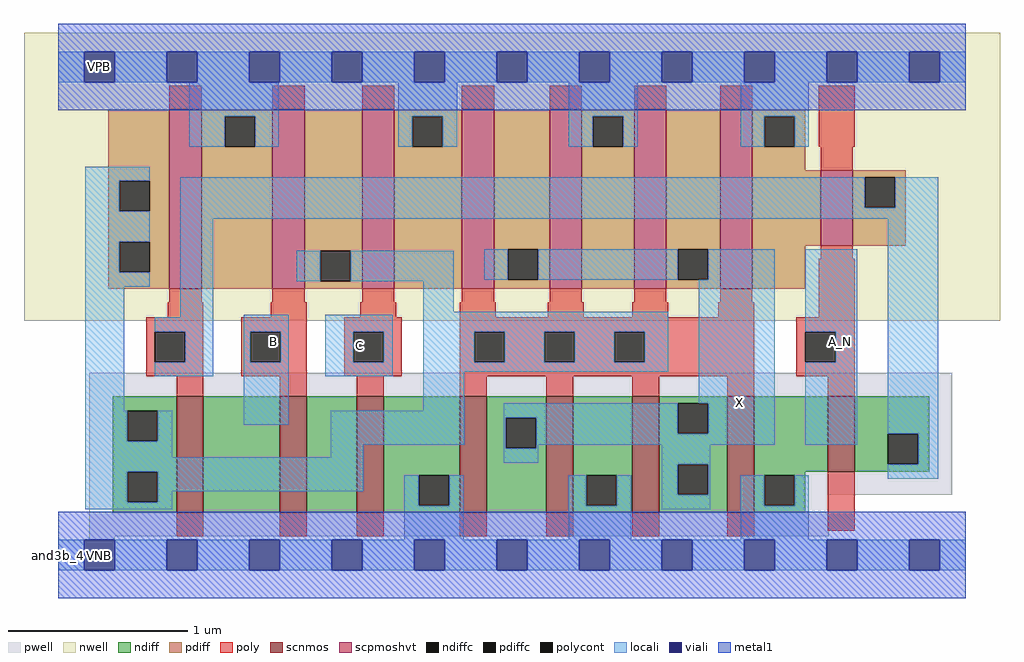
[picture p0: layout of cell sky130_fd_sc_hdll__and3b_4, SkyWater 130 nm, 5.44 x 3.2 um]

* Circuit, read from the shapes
.subckt sky130_fd_sc_hdll__and3b_4 A_N B C VGND VNB VPB VPWR X
XM1 n1 n2 n3 VNB sky130_fd_pr__nfet_01v8 w=0.65 l=0.15
XM2 n4 B n1 VNB sky130_fd_pr__nfet_01v8 w=0.65 l=0.15
XM3 VGND C n4 VNB sky130_fd_pr__nfet_01v8 w=0.65 l=0.15
XM4 X n3 VGND VNB sky130_fd_pr__nfet_01v8 w=0.65 l=0.15 m=4
XM5 n2 A_N VGND VNB sky130_fd_pr__nfet_01v8 w=0.42 l=0.15
XM6 VPWR n2 n3 VPB sky130_fd_pr__pfet_01v8_hvt w=1 l=0.18
XM7 n3 B VPWR VPB sky130_fd_pr__pfet_01v8_hvt w=1 l=0.18
XM8 VPWR C n3 VPB sky130_fd_pr__pfet_01v8_hvt w=1 l=0.18
XM9 X n3 VPWR VPB sky130_fd_pr__pfet_01v8_hvt w=1 l=0.18 m=4
XM10 n2 A_N VPWR VPB sky130_fd_pr__pfet_01v8_hvt w=0.42 l=0.18
.ends

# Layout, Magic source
magic
tech sky130A
magscale 1 2
<< nwell >>
rect -38 261 1050 582
<< pwell >>
rect 35 67 997 203
rect 35 21 859 67
rect 35 17 63 21
rect 29 -17 63 17
<< scnmos >>
rect 132 47 162 177
rect 247 47 277 177
rect 333 47 363 177
rect 448 47 478 177
rect 544 47 574 177
rect 640 47 670 177
rect 746 47 776 177
rect 858 93 888 177
<< scpmoshvt >>
rect 124 297 160 497
rect 239 297 275 497
rect 339 297 375 497
rect 450 297 486 497
rect 548 297 584 497
rect 642 297 678 497
rect 738 297 774 497
rect 850 345 886 429
<< ndiff >>
rect 61 161 132 177
rect 61 127 77 161
rect 111 127 132 161
rect 61 93 132 127
rect 61 59 77 93
rect 111 59 132 93
rect 61 47 132 59
rect 162 47 247 177
rect 277 47 333 177
rect 363 89 448 177
rect 363 55 402 89
rect 436 55 448 89
rect 363 47 448 55
rect 478 153 544 177
rect 478 119 499 153
rect 533 119 544 153
rect 478 47 544 119
rect 574 89 640 177
rect 574 55 589 89
rect 623 55 640 89
rect 574 47 640 55
rect 670 169 746 177
rect 670 135 691 169
rect 725 135 746 169
rect 670 101 746 135
rect 670 67 691 101
rect 725 67 746 101
rect 670 47 746 67
rect 776 93 858 177
rect 888 135 971 177
rect 888 101 925 135
rect 959 101 971 135
rect 888 93 971 101
rect 776 89 833 93
rect 776 55 787 89
rect 821 55 833 89
rect 776 47 833 55
<< pdiff >>
rect 56 417 124 497
rect 56 383 68 417
rect 102 383 124 417
rect 56 349 124 383
rect 56 315 68 349
rect 102 315 124 349
rect 56 297 124 315
rect 160 489 239 497
rect 160 455 186 489
rect 220 455 239 489
rect 160 297 239 455
rect 275 339 339 497
rect 275 305 292 339
rect 326 305 339 339
rect 275 297 339 305
rect 375 489 450 497
rect 375 455 395 489
rect 429 455 450 489
rect 375 297 450 455
rect 486 341 548 497
rect 486 307 501 341
rect 535 307 548 341
rect 486 297 548 307
rect 584 489 642 497
rect 584 455 596 489
rect 630 455 642 489
rect 584 297 642 455
rect 678 341 738 497
rect 678 307 691 341
rect 725 307 738 341
rect 678 297 738 307
rect 774 489 833 497
rect 774 455 787 489
rect 821 455 833 489
rect 774 429 833 455
rect 774 345 850 429
rect 886 421 945 429
rect 886 387 899 421
rect 933 387 945 421
rect 886 345 945 387
rect 774 297 833 345
<< ndiffc >>
rect 77 127 111 161
rect 77 59 111 93
rect 402 55 436 89
rect 499 119 533 153
rect 589 55 623 89
rect 691 135 725 169
rect 691 67 725 101
rect 925 101 959 135
rect 787 55 821 89
<< pdiffc >>
rect 68 383 102 417
rect 68 315 102 349
rect 186 455 220 489
rect 292 305 326 339
rect 395 455 429 489
rect 501 307 535 341
rect 596 455 630 489
rect 691 307 725 341
rect 787 455 821 489
rect 899 387 933 421
<< poly >>
rect 124 497 160 523
rect 239 497 275 523
rect 339 497 375 523
rect 450 497 486 523
rect 548 497 584 523
rect 642 497 678 523
rect 738 497 774 523
rect 848 455 888 523
rect 850 429 886 455
rect 850 330 886 345
rect 124 282 160 297
rect 239 282 275 297
rect 339 282 375 297
rect 450 282 486 297
rect 548 282 584 297
rect 642 282 678 297
rect 738 282 774 297
rect 122 265 162 282
rect 237 265 277 282
rect 337 265 377 282
rect 448 265 488 282
rect 546 265 586 282
rect 640 265 680 282
rect 736 265 776 282
rect 848 265 888 330
rect 98 249 162 265
rect 98 215 108 249
rect 142 215 162 249
rect 98 199 162 215
rect 204 249 277 265
rect 204 215 214 249
rect 248 215 277 249
rect 204 199 277 215
rect 319 249 383 265
rect 319 215 329 249
rect 363 215 383 249
rect 319 199 383 215
rect 448 249 776 265
rect 448 215 464 249
rect 498 215 542 249
rect 576 215 620 249
rect 654 215 776 249
rect 448 199 776 215
rect 823 249 888 265
rect 823 215 833 249
rect 867 215 888 249
rect 823 199 888 215
rect 132 177 162 199
rect 247 177 277 199
rect 333 177 363 199
rect 448 177 478 199
rect 544 177 574 199
rect 640 177 670 199
rect 746 177 776 199
rect 858 177 888 199
rect 132 21 162 47
rect 247 21 277 47
rect 333 21 363 47
rect 448 21 478 47
rect 544 21 574 47
rect 640 21 670 47
rect 746 21 776 47
rect 858 27 888 93
<< polycont >>
rect 108 215 142 249
rect 214 215 248 249
rect 329 215 363 249
rect 464 215 498 249
rect 542 215 576 249
rect 620 215 654 249
rect 833 215 867 249
<< locali >>
rect 0 527 29 561
rect 63 527 121 561
rect 155 527 213 561
rect 247 527 305 561
rect 339 527 397 561
rect 431 527 489 561
rect 523 527 581 561
rect 615 527 673 561
rect 707 527 765 561
rect 799 527 857 561
rect 891 527 949 561
rect 983 527 1012 561
rect 146 489 246 527
rect 146 455 186 489
rect 220 455 246 489
rect 379 489 445 527
rect 379 455 395 489
rect 429 455 445 489
rect 569 489 646 527
rect 569 455 596 489
rect 630 455 646 489
rect 761 489 837 527
rect 761 455 787 489
rect 821 455 837 489
rect 30 417 102 433
rect 30 383 68 417
rect 30 349 102 383
rect 30 315 68 349
rect 30 299 102 315
rect 136 387 899 421
rect 933 387 981 421
rect 136 375 981 387
rect 30 161 74 299
rect 136 265 173 375
rect 266 305 292 339
rect 326 305 441 339
rect 475 307 501 341
rect 535 307 691 341
rect 725 307 799 341
rect 407 271 441 305
rect 108 249 173 265
rect 142 215 173 249
rect 108 199 173 215
rect 207 249 257 268
rect 207 215 214 249
rect 248 215 257 249
rect 30 127 77 161
rect 111 127 127 161
rect 207 145 257 215
rect 298 249 373 268
rect 298 215 329 249
rect 363 215 373 249
rect 298 199 373 215
rect 407 249 680 271
rect 407 215 464 249
rect 498 215 542 249
rect 576 215 620 249
rect 654 215 680 249
rect 407 204 680 215
rect 407 161 453 204
rect 714 169 799 307
rect 30 109 127 127
rect 304 123 453 161
rect 497 153 691 169
rect 304 109 340 123
rect 30 93 340 109
rect 497 119 499 153
rect 533 135 691 153
rect 725 135 799 169
rect 533 123 799 135
rect 833 249 891 341
rect 867 215 891 249
rect 833 123 891 215
rect 925 135 981 375
rect 533 119 535 123
rect 497 103 535 119
rect 30 59 77 93
rect 111 71 340 93
rect 673 101 727 123
rect 111 59 127 71
rect 30 51 127 59
rect 386 55 402 89
rect 436 55 452 89
rect 386 17 452 55
rect 569 55 589 89
rect 623 55 639 89
rect 569 17 639 55
rect 673 67 691 101
rect 725 67 727 101
rect 959 101 981 135
rect 673 51 727 67
rect 761 55 787 89
rect 821 55 837 89
rect 925 85 981 101
rect 761 17 837 55
rect 0 -17 29 17
rect 63 -17 121 17
rect 155 -17 213 17
rect 247 -17 305 17
rect 339 -17 397 17
rect 431 -17 489 17
rect 523 -17 581 17
rect 615 -17 673 17
rect 707 -17 765 17
rect 799 -17 857 17
rect 891 -17 949 17
rect 983 -17 1012 17
<< viali >>
rect 29 527 63 561
rect 121 527 155 561
rect 213 527 247 561
rect 305 527 339 561
rect 397 527 431 561
rect 489 527 523 561
rect 581 527 615 561
rect 673 527 707 561
rect 765 527 799 561
rect 857 527 891 561
rect 949 527 983 561
rect 29 -17 63 17
rect 121 -17 155 17
rect 213 -17 247 17
rect 305 -17 339 17
rect 397 -17 431 17
rect 489 -17 523 17
rect 581 -17 615 17
rect 673 -17 707 17
rect 765 -17 799 17
rect 857 -17 891 17
rect 949 -17 983 17
<< metal1 >>
rect 0 561 1012 592
rect 0 527 29 561
rect 63 527 121 561
rect 155 527 213 561
rect 247 527 305 561
rect 339 527 397 561
rect 431 527 489 561
rect 523 527 581 561
rect 615 527 673 561
rect 707 527 765 561
rect 799 527 857 561
rect 891 527 949 561
rect 983 527 1012 561
rect 0 496 1012 527
rect 0 17 1012 48
rect 0 -17 29 17
rect 63 -17 121 17
rect 155 -17 213 17
rect 247 -17 305 17
rect 339 -17 397 17
rect 431 -17 489 17
rect 523 -17 581 17
rect 615 -17 673 17
rect 707 -17 765 17
rect 799 -17 857 17
rect 891 -17 949 17
rect 983 -17 1012 17
rect 0 -48 1012 -17
<< labels >>
flabel locali s 855 221 889 255 0 FreeSans 340 0 0 0 A_N
port 1 nsew signal input
flabel locali s 743 153 777 187 0 FreeSans 340 0 0 0 X
port 8 nsew signal output
flabel locali s 298 199 373 268 0 FreeSans 340 0 0 0 C
port 3 nsew signal input
flabel locali s 223 221 257 255 0 FreeSans 340 0 0 0 B
port 2 nsew signal input
flabel pwell s 29 -17 63 17 0 FreeSans 200 0 0 0 VNB
port 5 nsew ground bidirectional
flabel nwell s 29 527 63 561 0 FreeSans 200 0 0 0 VPB
port 6 nsew power bidirectional
flabel metal1 s 29 -17 63 17 0 FreeSans 200 0 0 0 VGND
port 4 nsew ground bidirectional
flabel metal1 s 29 527 63 561 0 FreeSans 200 0 0 0 VPWR
port 7 nsew power bidirectional
rlabel comment s 0 0 0 0 4 and3b_4
<< properties >>
string LEFsite unithd
string LEFclass CORE
string FIXED_BBOX 0 0 1012 544
string GDS_FILE $PDKPATH/libs.ref/sky130_fd_sc_hdll/gds/sky130_fd_sc_hdll.gds
string LEFsymmetry X Y R90
string GDS_END 1825788
string GDS_START 1818756
string LEFproperties maskLayoutSubType "abstract" prCellType "standard" originalViewName "layout"
<< end >>
